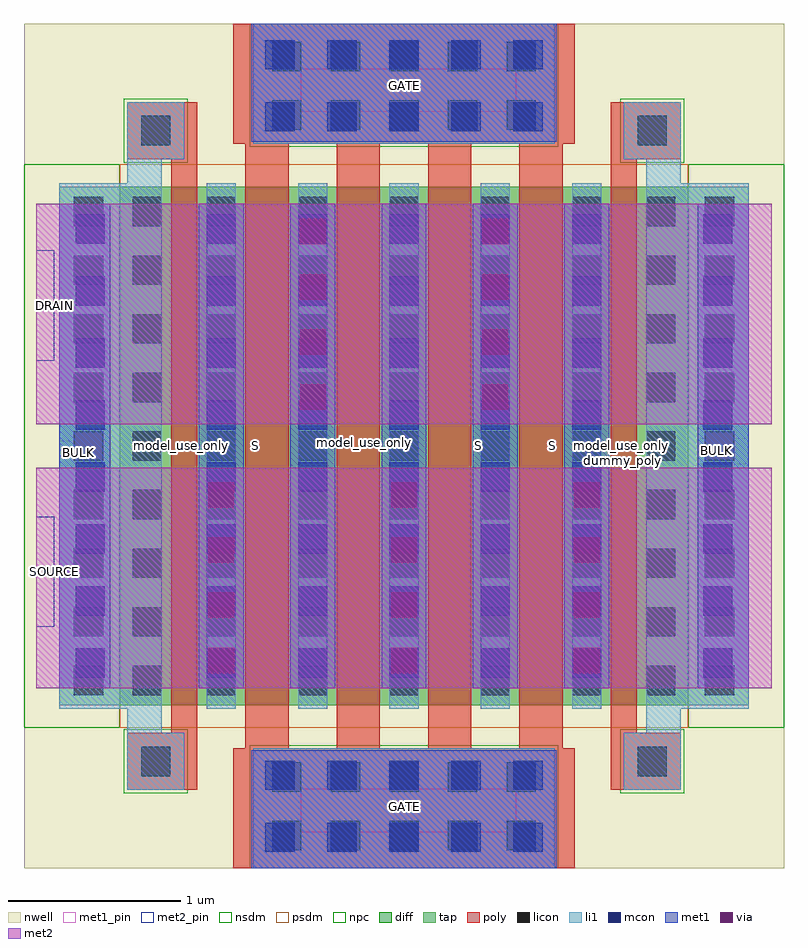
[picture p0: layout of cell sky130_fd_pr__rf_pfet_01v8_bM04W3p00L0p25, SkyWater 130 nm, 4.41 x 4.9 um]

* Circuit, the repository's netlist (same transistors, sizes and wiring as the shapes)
* Copyright 2020 The SkyWater PDK Authors
*
* Licensed under the Apache License, Version 2.0 (the "License");
* you may not use this file except in compliance with the License.
* You may obtain a copy of the License at
*
*     https://www.apache.org/licenses/LICENSE-2.0
*
* Unless required by applicable law or agreed to in writing, software
* distributed under the License is distributed on an "AS IS" BASIS,
* WITHOUT WARRANTIES OR CONDITIONS OF ANY KIND, either express or implied.
* See the License for the specific language governing permissions and
* limitations under the License.
*
* SPDX-License-Identifier: Apache-2.0


.subckt sky130_fd_pr__rf_pfet_01v8_bM04W3p00L0p25 BULK DRAIN GATE SOURCE
X0 SOURCE BULK BULK BULK sky130_fd_pr__pfet_01v8 w=3.01e+06u l=150000u
X1 SOURCE GATE DRAIN BULK sky130_fd_pr__pfet_01v8 w=3.01e+06u l=250000u
X2 SOURCE GATE DRAIN BULK sky130_fd_pr__pfet_01v8 w=3.01e+06u l=250000u
X3 DRAIN GATE SOURCE BULK sky130_fd_pr__pfet_01v8 w=3.01e+06u l=250000u
X4 BULK BULK SOURCE BULK sky130_fd_pr__pfet_01v8 w=3.01e+06u l=150000u
X5 DRAIN GATE SOURCE BULK sky130_fd_pr__pfet_01v8 w=3.01e+06u l=250000u
.ends

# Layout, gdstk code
import gdstk
lib = gdstk.Library(unit=1e-6, precision=1e-09)
def R(c, l, rs):  # rectangles x0, y0, x1, y1
    for r in rs: c.add(gdstk.rectangle(r[:2], r[2:], *l))
def A(c, l, x, y, w, h, nx, ny, dx, dy):  # array of equal rectangles
    R(c, l, [(x+i*dx, y+j*dy, x+i*dx+w, y+j*dy+h) for i in range(nx) for j in range(ny)])
nwell = (64, 20)
diff = (65, 20)
tap = (65, 44)
poly = (66, 20)
licon = (66, 44)
li1 = (67, 20)
mcon = (67, 44)
met1_pin = (68, 16)
met1 = (68, 20)
via = (68, 44)
met2_pin = (69, 16)
met2 = (69, 20)
nsdm = (93, 44)
psdm = (94, 20)
npc = (95, 20)

sky130_fd_pr__rf_pfet_01 = lib.new_cell('sky130_fd_pr__rf_pfet_01v8_bM04W3p00L0p25')
R(sky130_fd_pr__rf_pfet_01, nwell, [(0,0,4.41,4.9)])
R(sky130_fd_pr__rf_pfet_01, diff, [(0.555,0.945,3.855,3.955)])
R(sky130_fd_pr__rf_pfet_01, tap, [(0.205,0.945,0.555,3.955), (3.855,0.945,4.205,3.955)])
A(sky130_fd_pr__rf_pfet_01, poly, 1.285, 0.695, 0.25, 3.51, 4, 1, 0.53, 0)
R(sky130_fd_pr__rf_pfet_01, poly, [(1.215,0,3.195,0.695), (0.6,0.455,0.93,0.785), (0.855,0.455,1.005,4.445), (3.405,0.455,3.555,4.445), (3.48,0.455,3.81,0.785), (0.6,4.115,0.93,4.445), (3.48,4.115,3.81,4.445), (1.215,4.205,3.195,4.9)])
A(sky130_fd_pr__rf_pfet_01, licon, 1.44, 0.105, 0.17, 0.17, 5, 2, 0.34, 0.34)
A(sky130_fd_pr__rf_pfet_01, licon, 0.29, 1.005, 0.17, 0.17, 1, 9, 0, 0.34)
A(sky130_fd_pr__rf_pfet_01, licon, 0.63, 1.005, 0.17, 0.17, 1, 9, 0, 0.34)
A(sky130_fd_pr__rf_pfet_01, licon, 1.06, 1.005, 0.17, 0.17, 5, 9, 0.53, 0.34)
A(sky130_fd_pr__rf_pfet_01, licon, 3.61, 1.005, 0.17, 0.17, 1, 9, 0, 0.34)
A(sky130_fd_pr__rf_pfet_01, licon, 3.95, 1.005, 0.17, 0.17, 1, 9, 0, 0.34)
A(sky130_fd_pr__rf_pfet_01, licon, 1.44, 4.285, 0.17, 0.17, 5, 2, 0.34, 0.34)
R(sky130_fd_pr__rf_pfet_01, licon, [(0.68,0.535,0.85,0.705), (3.56,0.535,3.73,0.705), (0.68,4.195,0.85,4.365), (3.56,4.195,3.73,4.365)])
A(sky130_fd_pr__rf_pfet_01, li1, 1.06, 0.925, 0.17, 3.05, 5, 1, 0.53, 0)
A(sky130_fd_pr__rf_pfet_01, li1, 1.06, 1.105, 0.17, 2.69, 5, 1, 0.53, 0)
R(sky130_fd_pr__rf_pfet_01, li1, [(1.33,0,3.08,0.695), (0.6,0.455,0.93,0.785), (3.48,0.455,3.81,0.785), (0.6,0.785,0.8,0.925), (3.61,0.785,3.81,0.925), (0.205,0.925,0.8,3.975), (3.61,0.925,4.205,3.975), (0.6,3.975,0.8,4.115), (3.61,3.975,3.81,4.115), (0.6,4.115,0.93,4.445), (3.48,4.115,3.81,4.445), (1.33,4.205,3.08,4.9)])
A(sky130_fd_pr__rf_pfet_01, mcon, 1.4, 0.095, 0.17, 0.17, 5, 2, 0.36, 0.36)
A(sky130_fd_pr__rf_pfet_01, mcon, 0.3, 1.105, 0.17, 0.17, 1, 8, 0, 0.36)
A(sky130_fd_pr__rf_pfet_01, mcon, 1.06, 1.105, 0.17, 0.17, 5, 8, 0.53, 0.36)
A(sky130_fd_pr__rf_pfet_01, mcon, 3.94, 1.105, 0.17, 0.17, 1, 8, 0, 0.36)
A(sky130_fd_pr__rf_pfet_01, mcon, 1.4, 4.275, 0.17, 0.17, 5, 2, 0.36, 0.36)
R(sky130_fd_pr__rf_pfet_01, met1_pin, [(1.605,0.21,2.855,0.46), (0.205,2.33,0.5,2.48), (3.91,2.345,4.205,2.495), (1.605,4.39,2.855,4.64)])
A(sky130_fd_pr__rf_pfet_01, met1, 1.015, 1.045, 0.26, 2.81, 5, 1, 0.53, 0)
A(sky130_fd_pr__rf_pfet_01, met1, 1.015, 1.045, 0.26, 1.28, 3, 1, 1.06, 0)
R(sky130_fd_pr__rf_pfet_01, met1, [(1.32,0,3.09,0.685), (0.205,1.045,0.5,3.855), (3.91,1.045,4.205,3.855), (1.545,2.575,1.805,3.855), (2.605,2.575,2.865,3.855), (1.32,4.215,3.09,4.9)])
A(sky130_fd_pr__rf_pfet_01, via, 1.07, 1.13, 0.15, 0.15, 3, 4, 1.06, 0.32)
A(sky130_fd_pr__rf_pfet_01, via, 1.6, 2.66, 0.15, 0.15, 1, 4, 0, 0.32)
A(sky130_fd_pr__rf_pfet_01, via, 2.66, 2.66, 0.15, 0.15, 1, 4, 0, 0.32)
R(sky130_fd_pr__rf_pfet_01, met2_pin, [(0.07,1.4,0.175,2.04), (0.07,2.945,0.175,3.585)])
A(sky130_fd_pr__rf_pfet_01, met2, 1.015, 1.045, 0.26, 1.28, 3, 1, 1.06, 0)
R(sky130_fd_pr__rf_pfet_01, met2, [(0.07,1.045,4.34,2.325), (0.07,2.575,4.34,3.855), (1.545,2.575,1.805,3.855), (2.605,2.575,2.865,3.855)])
R(sky130_fd_pr__rf_pfet_01, nsdm, [(0,0.815,0.555,4.085), (3.855,0.815,4.41,4.085)])
R(sky130_fd_pr__rf_pfet_01, psdm, [(0.555,0.815,3.855,4.085)])
R(sky130_fd_pr__rf_pfet_01, npc, [(1.31,0,3.1,0.715), (0.58,0.435,0.95,0.805), (3.46,0.435,3.83,0.805), (0.58,4.095,0.95,4.465), (3.46,4.095,3.83,4.465), (1.31,4.185,3.1,4.9)])
sky130_fd_pr__rf_pfet_01.add(gdstk.Label('GATE', (2.205,0.36), layer=68, texttype=5))
sky130_fd_pr__rf_pfet_01.add(gdstk.Label('GATE', (2.205,4.54), layer=68, texttype=5))
sky130_fd_pr__rf_pfet_01.add(gdstk.Label('model_use_only', (3.465,2.45), layer=66, texttype=83))
sky130_fd_pr__rf_pfet_01.add(gdstk.Label('model_use_only', (0.915,2.45), layer=66, texttype=83))
sky130_fd_pr__rf_pfet_01.add(gdstk.Label('model_use_only', (1.975,2.47), layer=66, texttype=83))
sky130_fd_pr__rf_pfet_01.add(gdstk.Label('model_use_only', (2.4,2.49), layer=66, texttype=83))
sky130_fd_pr__rf_pfet_01.add(gdstk.Label('model_use_only', (2.96,2.505), layer=66, texttype=83))
sky130_fd_pr__rf_pfet_01.add(gdstk.Label('model_use_only', (1.43,2.47), layer=66, texttype=83))
sky130_fd_pr__rf_pfet_01.add(gdstk.Label('BULK', (0.315,2.41), layer=68, texttype=16))
sky130_fd_pr__rf_pfet_01.add(gdstk.Label('BULK', (4.02,2.425), layer=68, texttype=16))
sky130_fd_pr__rf_pfet_01.add(gdstk.Label('dummy_poly', (3.47,2.365), layer=83, texttype=44))
sky130_fd_pr__rf_pfet_01.add(gdstk.Label('dummy_poly', (0.91,2.395), layer=83, texttype=44))
sky130_fd_pr__rf_pfet_01.add(gdstk.Label('S', (1.345,2.45), layer=83, texttype=44))
sky130_fd_pr__rf_pfet_01.add(gdstk.Label('S', (1.775,2.45), layer=83, texttype=44))
sky130_fd_pr__rf_pfet_01.add(gdstk.Label('S', (2.205,2.45), layer=83, texttype=44))
sky130_fd_pr__rf_pfet_01.add(gdstk.Label('S', (2.635,2.45), layer=83, texttype=44))
sky130_fd_pr__rf_pfet_01.add(gdstk.Label('S', (1.345,2.45), layer=83, texttype=44))
sky130_fd_pr__rf_pfet_01.add(gdstk.Label('D', (1.775,2.45), layer=83, texttype=44))
sky130_fd_pr__rf_pfet_01.add(gdstk.Label('S', (2.205,2.45), layer=83, texttype=44))
sky130_fd_pr__rf_pfet_01.add(gdstk.Label('D', (2.635,2.45), layer=83, texttype=44))
sky130_fd_pr__rf_pfet_01.add(gdstk.Label('S', (3.065,2.45), layer=83, texttype=44))
sky130_fd_pr__rf_pfet_01.add(gdstk.Label('SOURCE', (0.175,1.72), layer=69, texttype=5))
sky130_fd_pr__rf_pfet_01.add(gdstk.Label('DRAIN', (0.175,3.265), layer=69, texttype=5))

lib.write_gds('sky130_fd_pr__rf_pfet_01v8_bM04W3p00L0p25.gds')
